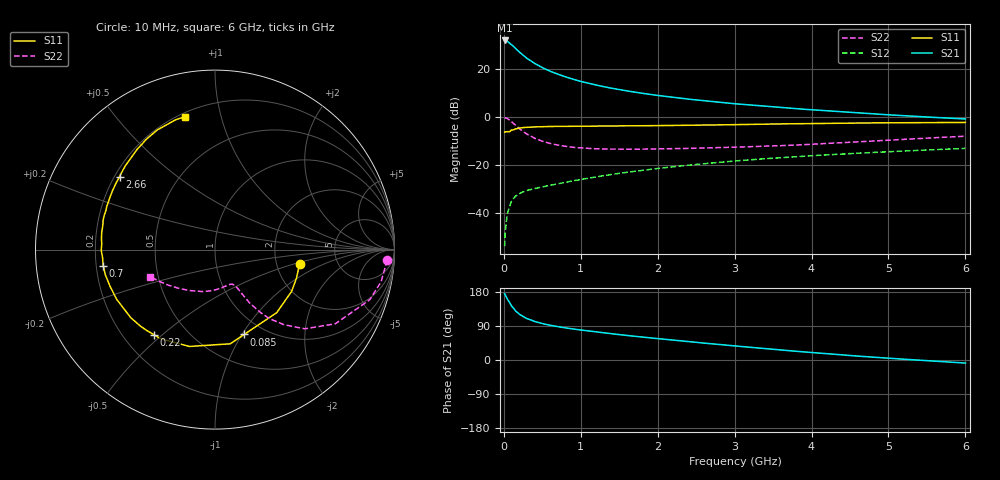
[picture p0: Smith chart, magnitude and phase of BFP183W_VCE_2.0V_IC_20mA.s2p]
! Infineon Technologies  Discrete & RF Semiconductors
! BFP183W
! VCE = 2.0 V,  IC =  20 mA
! Common Emitter S-Parameters:  Jan 2016
# GHz  S  MA  R  50
!  f  S11  S21  S12  S22
! GHz  MAG  ANG  MAG  ANG  MAG  ANG  MAG  ANG
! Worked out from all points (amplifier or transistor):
!   210 points, 10 MHz to 6 GHz, reference 50 ohm
!   highest |S21| = 31.8 dB at 10 MHz (marker M1)
!   |S21| within 3 dB of that: start of sweep to 141.6 MHz
!   unconditionally stable (mu >= 1): 860.2 MHz to 5.226 GHz
!   at 185 MHz: K = 0.36, MSG = 30.0 dB, |S12| = -32.4 dB
!   at 1.52 GHz: K = 1.15, MAG = 15.0 dB, |S12| = -23.5 dB
!   at 6 GHz: K = 0.96, MSG = 6.1 dB, |S12| = -13.2 dB
!   S11 on the Smith chart (normalised r, x): 10 MHz: 2.70, -0.55; 85 MHz: 0.81, -1.02; 220 MHz: 0.33, -0.47; 700 MHz: 0.23, -0.07; 2.66 GHz: 0.22, +0.32; 6 GHz: 0.22, +0.78
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0.01  0.4777 -9.5  38.88 175.0  0.002 87.6  0.9599 -3.5
0.03  0.4862 -28.6  38.48 167.4  0.006 80.4  0.9425 -10.9
0.05  0.4916 -45.6  36.92 159.3  0.01 74.3  0.9076 -17.8
0.085  0.5 -71.0  33.1 148.1  0.015 63.3  0.818 -27.1
0.1  0.5317 -80.8  31.92 142.6  0.0172 60.6  0.7873 -31.7
0.15  0.558 -104.7  26.77 129.9  0.0219 53.0  0.6658 -41.5
0.2  0.5814 -121.1  22.41 120.9  0.0248 48.4  0.5667 -47.5
0.22  0.5838 -125.8  21.07 118.5  0.0258 47.3  0.5363 -49.0
0.26  0.5952 -134.3  18.61 113.4  0.0275 45.4  0.4798 -52.1
0.3  0.6035 -141.0  16.49 109.3  0.0289 44.2  0.4331 -54.1
0.4  0.6139 -153.1  12.91 101.6  0.0317 44.2  0.3558 -57.0
0.5  0.6198 -161.0  10.55 96.0  0.0345 45.4  0.3079 -58.2
0.6  0.6268 -167.0  8.898 91.6  0.037 46.2  0.2769 -58.9
0.7  0.6293 -171.9  7.722 88.0  0.04 48.3  0.2562 -59.5
1.02  0.6319 177.0  5.347 78.6  0.0496 52.3  0.2225 -61.9
1.4  0.6401 167.3  3.926 69.2  0.0624 54.6  0.211 -66.3
2.02  0.6531 154.2  2.752 56.1  0.0842 55.3  0.2128 -76.7
2.66  0.6688 142.7  2.105 43.5  0.1069 53.3  0.2241 -89.4
3.1  0.6865 135.3  1.81 35.5  0.1228 51.1  0.2342 -99.4
4.1  0.7261 120.9  1.362 18.2  0.1569 45.2  0.2712 -123.5
5.1  0.7481 110.0  1.072 3.3  0.1893 38.7  0.3318 -144.1
6  0.7596 102.6  0.897 -8.1  0.2187 33.0  0.3922 -157.5
